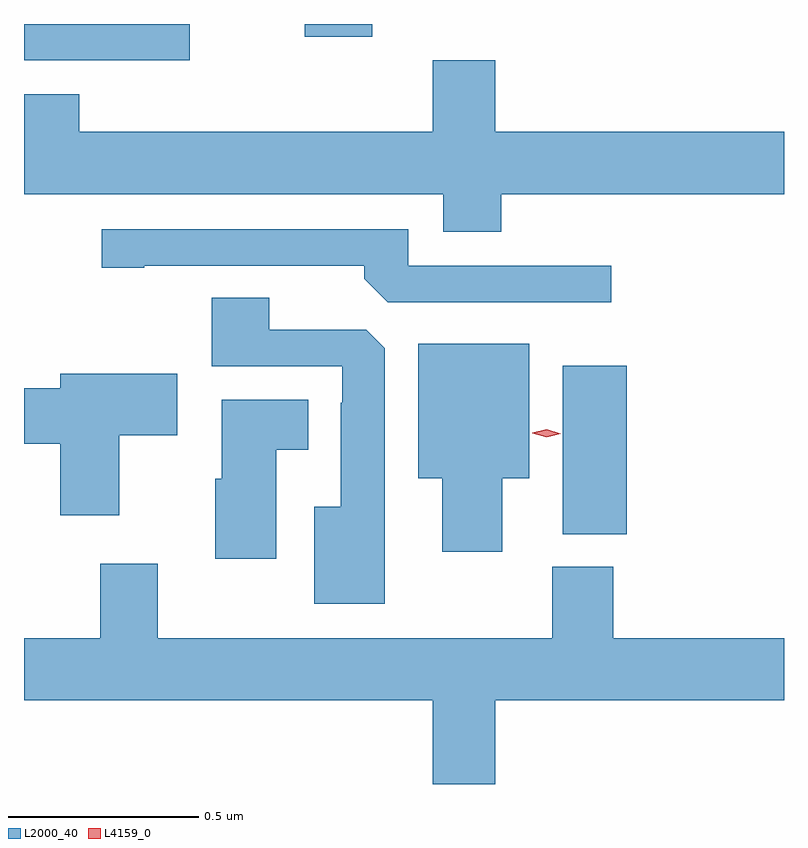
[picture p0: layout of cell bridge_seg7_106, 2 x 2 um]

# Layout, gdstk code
import gdstk
lib = gdstk.Library(unit=1e-6, precision=1e-09)
def R(c, l, rs):  # rectangles x0, y0, x1, y1
    for r in rs: c.add(gdstk.rectangle(r[:2], r[2:], *l))
def P(c, l, *ps):  # polygons
    for p in ps: c.add(gdstk.Polygon(p, *l))
L2000_40 = (2000, 40)
L4159_0 = (4159, 0)

bridge_seg7_106 = lib.new_cell('bridge_seg7_106')
R(bridge_seg7_106, L2000_40, [(1088.426,1010.377,1088.594,1010.821), (1087.008,1011.624,1087.444,1011.72), (1087.747,1011.687,1087.925,1011.72)])
P(bridge_seg7_106, L2000_40, [(1088.264,1011.272),(1089.008,1011.272),(1089.008,1011.436),(1088.248,1011.436),(1088.248,1011.625),(1088.084,1011.625),(1088.084,1011.436),(1087.154,1011.436),(1087.154,1011.535),(1087.008,1011.535),(1087.008,1011.272),(1088.111,1011.272),(1088.111,1011.173),(1088.264,1011.173)],
  [(1088.554,1011.084),(1088.019,1011.084),(1088.019,1011.18),(1087.212,1011.18),(1087.212,1011.079),(1087.324,1011.079),(1087.324,1011.084),(1087.904,1011.084),(1087.904,1011.05),(1087.965,1010.988),(1088.554,1010.988)],
  [(1087.957,1010.867),(1087.908,1010.916),(1087.654,1010.916),(1087.654,1010.999),(1087.502,1010.999),(1087.502,1010.82),(1087.845,1010.82),(1087.845,1010.723),(1087.841,1010.723),(1087.841,1010.449),(1087.772,1010.449),(1087.772,1010.195),(1087.957,1010.195)],
  [(1088.266,1010.525),(1088.338,1010.525),(1088.338,1010.878),(1088.045,1010.878),(1088.045,1010.525),(1088.108,1010.525),(1088.108,1010.331),(1088.266,1010.331)],
  [(1087.258,1010.638),(1087.411,1010.638),(1087.411,1010.8),(1087.103,1010.8),(1087.103,1010.762),(1087.008,1010.762),(1087.008,1010.615),(1087.103,1010.615),(1087.103,1010.427),(1087.258,1010.427)],
  [(1087.672,1010.6),(1087.756,1010.6),(1087.756,1010.731),(1087.529,1010.731),(1087.529,1010.523),(1087.511,1010.523),(1087.511,1010.313),(1087.672,1010.313)],
  [(1088.248,1009.94),(1089.008,1009.94),(1089.008,1010.104),(1088.558,1010.104),(1088.558,1010.292),(1088.398,1010.292),(1088.398,1010.104),(1087.36,1010.104),(1087.36,1010.299),(1087.208,1010.299),(1087.208,1010.104),(1087.008,1010.104),(1087.008,1009.94),(1088.084,1009.94),(1088.084,1009.72),(1088.248,1009.72)])
P(bridge_seg7_106, L4159_0, [(1088.383,1010.633),(1088.345,1010.643),(1088.345,1010.643),(1088.345,1010.644),(1088.383,1010.653),(1088.42,1010.642),(1088.42,1010.642),(1088.42,1010.642)])

lib.write_gds('bridge_seg7_106.gds')
